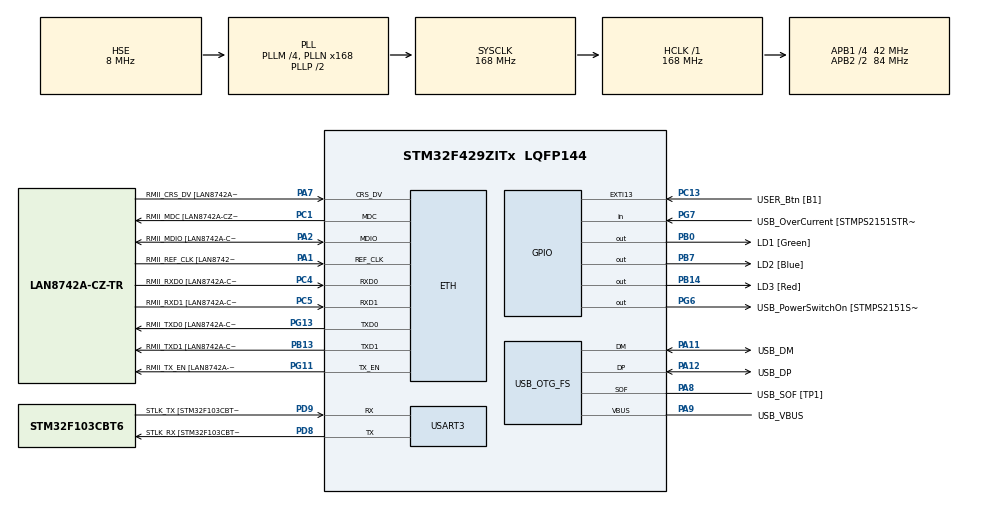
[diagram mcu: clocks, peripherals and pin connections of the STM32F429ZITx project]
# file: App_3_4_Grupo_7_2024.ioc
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ETH.MediaInterface=HAL_ETH_RMII_MODE
ETH.PHY_Name=LAN8742A_PHY_ADDRESS
ETH.PHY_Value=0
ETH.PhyAddress=0
Mcu.Family=STM32F4
Mcu.Name=STM32F429ZITx
Mcu.Package=LQFP144
NVIC.PriorityGroup=NVIC_PRIORITYGROUP_4
PA1.GPIO_Label=RMII_REF_CLK [LAN8742A-CZ-TR_REFCLK0]
PA1.Mode=RMII
PA1.Signal=ETH_REF_CLK
PA10.GPIO_Label=USB_ID
PA10.Signal=USB_OTG_FS_ID
PA11.GPIO_Label=USB_DM
PA11.Mode=Device_Only
PA11.Signal=USB_OTG_FS_DM
PA12.GPIO_Label=USB_DP
PA12.Mode=Device_Only
PA12.Signal=USB_OTG_FS_DP
PA13.GPIO_Label=TMS
PA13.Mode=Serial_Wire
PA13.Signal=SYS_JTMS-SWDIO
PA14.GPIO_Label=TCK
PA14.Mode=Serial_Wire
PA14.Signal=SYS_JTCK-SWCLK
PA2.GPIO_Label=RMII_MDIO [LAN8742A-CZ-TR_MDIO]
PA2.Mode=RMII
PA2.Signal=ETH_MDIO
PA7.GPIO_Label=RMII_CRS_DV [LAN8742A-CZ-TR_CRS_DV]
PA7.Mode=RMII
PA7.Signal=ETH_CRS_DV
PA8.GPIO_Label=USB_SOF [TP1]
PA8.Mode=Activate_SOF_FS
PA8.Signal=USB_OTG_FS_SOF
PA9.GPIO_Label=USB_VBUS
PA9.Mode=Activate_VBUS
PA9.Signal=USB_OTG_FS_VBUS
PB0.GPIO_Label=LD1 [Green]
PB0.Signal=GPIO_Output
PB13.GPIO_Label=RMII_TXD1 [LAN8742A-CZ-TR_TXD1]
PB13.Mode=RMII
PB13.Signal=ETH_TXD1
PB14.GPIO_Label=LD3 [Red]
PB14.Signal=GPIO_Output
PB7.GPIO_Label=LD2 [Blue]
PB7.Signal=GPIO_Output
PC1.GPIO_Label=RMII_MDC [LAN8742A-CZ-TR_MDC]
PC1.Mode=RMII
PC1.Signal=ETH_MDC
PC13.GPIO_Label=USER_Btn [B1]
PC13.Signal=GPXTI13
PC14/OSC32_IN.Mode=LSE-External-Oscillator
PC14/OSC32_IN.Signal=RCC_OSC32_IN
PC15/OSC32_OUT.Mode=LSE-External-Oscillator
PC15/OSC32_OUT.Signal=RCC_OSC32_OUT
PC4.GPIO_Label=RMII_RXD0 [LAN8742A-CZ-TR_RXD0]
PC4.Mode=RMII
PC4.Signal=ETH_RXD0
PC5.GPIO_Label=RMII_RXD1 [LAN8742A-CZ-TR_RXD1]
PC5.Mode=RMII
PC5.Signal=ETH_RXD1
PD8.GPIO_Label=STLK_RX [STM32F103CBT6_PA3]
PD8.Mode=Asynchronous
PD8.Signal=USART3_TX
PD9.GPIO_Label=STLK_TX [STM32F103CBT6_PA2]
PD9.Mode=Asynchronous
PD9.Signal=USART3_RX
PG11.GPIO_Label=RMII_TX_EN [LAN8742A-CZ-TR_TXEN]
PG11.Mode=RMII
PG11.Signal=ETH_TX_EN
PG13.GPIO_Label=RMII_TXD0 [LAN8742A-CZ-TR_TXD0]
PG13.Mode=RMII
PG13.Signal=ETH_TXD0
PG6.GPIO_Label=USB_PowerSwitchOn [STMPS2151STR_EN]
PG6.Signal=GPIO_Output
PG7.GPIO_Label=USB_OverCurrent [STMPS2151STR_FAULT]
PG7.Signal=GPIO_Input
PH0/OSC_IN.GPIO_Label=MCO [STM32F103CBT6_PA8]
PH0/OSC_IN.Mode=HSE-External-Clock-Source
PH0/OSC_IN.Signal=RCC_OSC_IN
PH1/OSC_OUT.Mode=HSE-External-Clock-Source
PH1/OSC_OUT.Signal=RCC_OSC_OUT
ProjectManager.HeapSize=0x200
ProjectManager.StackSize=0x400
ProjectManager.TargetToolchain=STM32CubeIDE
RCC.48MHZClocksFreq_Value=48000000
RCC.AHBFreq_Value=168000000
RCC.APB1CLKDivider=RCC_HCLK_DIV4
RCC.APB1Freq_Value=42000000
RCC.APB1TimFreq_Value=84000000
RCC.APB2CLKDivider=RCC_HCLK_DIV2
RCC.APB2Freq_Value=84000000
RCC.APB2TimCLKDivider=2
RCC.APB2TimFreq_Value=168000000
RCC.CortexFreq_Value=168000000
RCC.HCLKFreq_Value=168000000
RCC.HSE_VALUE=8000000
RCC.HSI_VALUE=16000000
RCC.PLLM=4
RCC.PLLMUL=RCC_PLL_MUL9
RCC.PLLN=168
RCC.PLLQ=7
RCC.PRESCALERUSB=RCC_USBCLKSOURCE_PLL_DIV1_5
RCC.SYSCLKFreq_VALUE=168000000
RCC.SYSCLKSource=RCC_SYSCLKSOURCE_PLLCLK
RCC.SYSCLKSourceVirtual=RCC_SYSCLKSOURCE_PLLCLK
RCC.USBFreq_Value=48000000
RCC.VCOOutputFreq_Value=336000000
USART3.VirtualMode=VM_ASYNC
USB_OTG_FS.VirtualMode=Device_Only
board=NUCLEO-F429ZI

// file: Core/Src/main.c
/* USER CODE BEGIN Header */
/**
  ******************************************************************************
  * @file           : main.c
  * @brief          : Main program body
  ******************************************************************************
  * @attention
  *
  * Copyright (c) 2024 STMicroelectronics.
  * All rights reserved.
  *
  * This software is licensed under terms that can be found in the LICENSE file
  * in the root directory of this software component.
  * If no LICENSE file comes with this software, it is provided AS-IS.
  *
  ******************************************************************************
  */
/* USER CODE END Header */
#include "main.h"
#include "API_DelayNoBloqueante.h"
#include "API_GPIO.h"

ETH_TxPacketConfig TxConfig;
ETH_DMADescTypeDef  DMARxDscrTab[ETH_RX_DESC_CNT]; /* Ethernet Rx DMA Descriptors */
ETH_DMADescTypeDef  DMATxDscrTab[ETH_TX_DESC_CNT]; /* Ethernet Tx DMA Descriptors */

ETH_HandleTypeDef heth;

UART_HandleTypeDef huart3;

PCD_HandleTypeDef hpcd_USB_OTG_FS;

void SystemClock_Config(void);
//static void MX_GPIO_Init(void);
static void MX_ETH_Init(void);
static void MX_USART3_UART_Init(void);
static void MX_USB_OTG_FS_PCD_Init(void);

int main(void)
{

  /* MCU Configuration--------------------------------------------------------*/

  /* Reset of all peripherals, Initializes the Flash interface and the Systick. */
  HAL_Init();

  /* USER CODE BEGIN Init */
  uint16_t LEDS[3] = {LD1_Pin, LD2_Pin, LD3_Pin};
  int aux = 0;
  int currentLed = 0;
  int retardos [4]= {100, 250, 500, 1000};
  delay_t delay1, delay2, delay3, delay4;
  delayInit(&delay1, retardos[0]);
  delayInit(&delay2, retardos[1]);
  delayInit(&delay3, retardos[2]);
  delayInit(&delay4, retardos[3]);

  /* USER CODE END Init */

  /* Configure the system clock */
  SystemClock_Config();

  /* Initialize all configured peripherals */
  MX_GPIO_Init();
  MX_ETH_Init();
  MX_USART3_UART_Init();
  MX_USB_OTG_FS_PCD_Init();

  /* Infinite loop */
  /* USER CODE BEGIN WHILE */
  while (1)
  {
	 if(readButton_GPIO()){
		aux=aux+readButton_GPIO();
		delayInit(&delay1, retardos[0]);
		delayInit(&delay2, retardos[1]);
		delayInit(&delay3, retardos[2]);
		delayInit(&delay3, retardos[3]);
	 }
	 if (aux>=4)
		aux=0;
	 switch (aux)
	 {
	 case 0:
		 if (delayRead(&delay1))
		 {
		 	toggleLed_GPIO(LEDS[currentLed]);
		 	currentLed = (currentLed + 1) % 3;
		 }
	 break;
	 case 1:
		 if (delayRead(&delay2))
		 {
			toggleLed_GPIO(LEDS[currentLed]);
			currentLed = (currentLed + 1) % 3;
		 }
	 break;
	 case 2:
		 if (delayRead(&delay3))
		 {
		 	toggleLed_GPIO(LEDS[currentLed]);
		 	currentLed = (currentLed + 1) % 3;
		 }
	 break;
	 case 3:
		 if (delayRead(&delay4))
		 {
		 	toggleLed_GPIO(LEDS[currentLed]);
		 	currentLed = (currentLed + 1) % 3;
		 }
	 default:
		 aux=0;
	 break;

	  /* USER CODE END WHILE */

	}
}
}
void SystemClock_Config(void)
{
  RCC_OscInitTypeDef RCC_OscInitStruct = {0};
  RCC_ClkInitTypeDef RCC_ClkInitStruct = {0};

  /** Configure the main internal regulator output voltage
  */
  __HAL_RCC_PWR_CLK_ENABLE();
  __HAL_PWR_VOLTAGESCALING_CONFIG(PWR_REGULATOR_VOLTAGE_SCALE1);

  /** Initializes the RCC Oscillators according to the specified parameters
  * in the RCC_OscInitTypeDef structure.
  */
  RCC_OscInitStruct.OscillatorType = RCC_OSCILLATORTYPE_HSE;
  RCC_OscInitStruct.HSEState = RCC_HSE_BYPASS;
  RCC_OscInitStruct.PLL.PLLState = RCC_PLL_ON;
  RCC_OscInitStruct.PLL.PLLSource = RCC_PLLSOURCE_HSE;
  RCC_OscInitStruct.PLL.PLLM = 4;
  RCC_OscInitStruct.PLL.PLLN = 168;
  RCC_OscInitStruct.PLL.PLLP = RCC_PLLP_DIV2;
  RCC_OscInitStruct.PLL.PLLQ = 7;
  if (HAL_RCC_OscConfig(&RCC_OscInitStruct) != HAL_OK)
  {
    Error_Handler();
  }

  /** Initializes the CPU, AHB and APB buses clocks
  */
  RCC_ClkInitStruct.ClockType = RCC_CLOCKTYPE_HCLK|RCC_CLOCKTYPE_SYSCLK
                              |RCC_CLOCKTYPE_PCLK1|RCC_CLOCKTYPE_PCLK2;
  RCC_ClkInitStruct.SYSCLKSource = RCC_SYSCLKSOURCE_PLLCLK;
  RCC_ClkInitStruct.AHBCLKDivider = RCC_SYSCLK_DIV1;
  RCC_ClkInitStruct.APB1CLKDivider = RCC_HCLK_DIV4;
  RCC_ClkInitStruct.APB2CLKDivider = RCC_HCLK_DIV2;

  if (HAL_RCC_ClockConfig(&RCC_ClkInitStruct, FLASH_LATENCY_5) != HAL_OK)
  {
    Error_Handler();
  }
}

static void MX_ETH_Init(void)
{

   static uint8_t MACAddr[6];

  heth.Instance = ETH;
  MACAddr[0] = 0x00;
  MACAddr[1] = 0x80;
  MACAddr[2] = 0xE1;
  MACAddr[3] = 0x00;
  MACAddr[4] = 0x00;
  MACAddr[5] = 0x00;
  heth.Init.MACAddr = &MACAddr[0];
  heth.Init.MediaInterface = HAL_ETH_RMII_MODE;
  heth.Init.TxDesc = DMATxDscrTab;
  heth.Init.RxDesc = DMARxDscrTab;
  heth.Init.RxBuffLen = 1524;

  if (HAL_ETH_Init(&heth) != HAL_OK)
  {
    Error_Handler();
  }

  memset(&TxConfig, 0 , sizeof(ETH_TxPacketConfig));
  TxConfig.Attributes = ETH_TX_PACKETS_FEATURES_CSUM | ETH_TX_PACKETS_FEATURES_CRCPAD;
  TxConfig.ChecksumCtrl = ETH_CHECKSUM_IPHDR_PAYLOAD_INSERT_PHDR_CALC;
  TxConfig.CRCPadCtrl = ETH_CRC_PAD_INSERT;

}

static void MX_USART3_UART_Init(void)
{

  huart3.Instance = USART3;
  huart3.Init.BaudRate = 115200;
  huart3.Init.WordLength = UART_WORDLENGTH_8B;
  huart3.Init.StopBits = UART_STOPBITS_1;
  huart3.Init.Parity = UART_PARITY_NONE;
  huart3.Init.Mode = UART_MODE_TX_RX;
  huart3.Init.HwFlowCtl = UART_HWCONTROL_NONE;
  huart3.Init.OverSampling = UART_OVERSAMPLING_16;
  if (HAL_UART_Init(&huart3) != HAL_OK)
  {
    Error_Handler();
  }

}

static void MX_USB_OTG_FS_PCD_Init(void)
{

  hpcd_USB_OTG_FS.Instance = USB_OTG_FS;
  hpcd_USB_OTG_FS.Init.dev_endpoints = 4;
  hpcd_USB_OTG_FS.Init.speed = PCD_SPEED_FULL;
  hpcd_USB_OTG_FS.Init.dma_enable = DISABLE;
  hpcd_USB_OTG_FS.Init.phy_itface = PCD_PHY_EMBEDDED;
  hpcd_USB_OTG_FS.Init.Sof_enable = ENABLE;
  hpcd_USB_OTG_FS.Init.low_power_enable = DISABLE;
  hpcd_USB_OTG_FS.Init.lpm_enable = DISABLE;
  hpcd_USB_OTG_FS.Init.vbus_sensing_enable = ENABLE;
  hpcd_USB_OTG_FS.Init.use_dedicated_ep1 = DISABLE;
  if (HAL_PCD_Init(&hpcd_USB_OTG_FS) != HAL_OK)
  {
    Error_Handler();
  }

}

void Error_Handler(void)
{
  __disable_irq();
  while (1)
  {
  }
}
